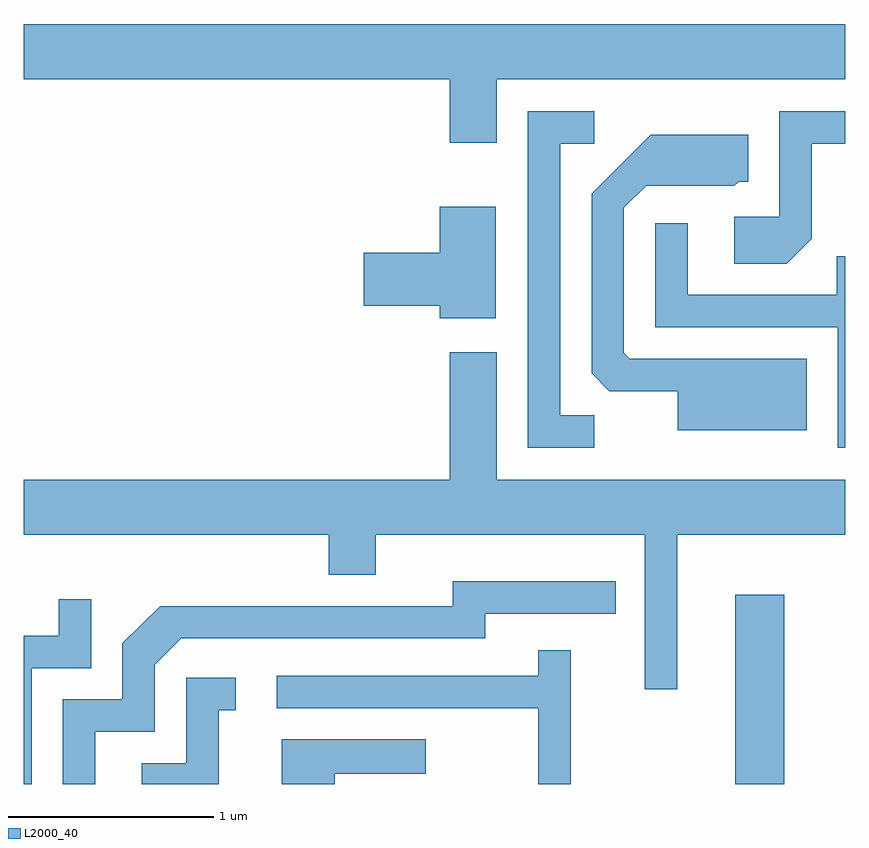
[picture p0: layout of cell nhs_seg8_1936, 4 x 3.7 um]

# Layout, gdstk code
import gdstk
lib = gdstk.Library(unit=1e-6, precision=1e-09)
def R(c, l, rs):  # rectangles x0, y0, x1, y1
    for r in rs: c.add(gdstk.rectangle(r[:2], r[2:], *l))
def P(c, l, *ps):  # polygons
    for p in ps: c.add(gdstk.Polygon(p, *l))
L2000_40 = (2000, 40)

nhs_seg8_1936 = lib.new_cell('nhs_seg8_1936')
R(nhs_seg8_1936, L2000_40, [(247.076,1806.342,247.314,1807.264)])
P(nhs_seg8_1936, L2000_40, [(245.914,1809.776),(247.611,1809.776),(247.611,1810.044),(243.611,1810.044),(243.611,1809.776),(245.686,1809.776),(245.686,1809.466),(245.914,1809.466)],
  [(247.449,1808.999),(247.449,1809.461),(247.611,1809.461),(247.611,1809.619),(247.291,1809.619),(247.291,1809.104),(247.071,1809.104),(247.071,1808.876),(247.327,1808.876)],
  [(246.388,1808.139),(246.224,1808.139),(246.224,1809.461),(246.388,1809.461),(246.388,1809.619),(246.066,1809.619),(246.066,1807.981),(246.388,1807.981)],
  [(247.424,1808.414),(246.562,1808.414),(246.534,1808.442),(246.534,1809.149),(246.642,1809.256),(247.072,1809.256),(247.092,1809.276),(247.139,1809.276),(247.139,1809.504),(246.664,1809.504),(246.376,1809.217),(246.376,1808.342),(246.462,1808.256),(246.796,1808.256),(246.796,1808.066),(247.424,1808.066)],
  [(245.909,1809.154),(245.636,1809.154),(245.636,1808.929),(245.266,1808.929),(245.266,1808.671),(245.636,1808.671),(245.636,1808.611),(245.909,1808.611)],
  [(247.611,1808.913),(247.571,1808.913),(247.571,1808.724),(246.844,1808.724),(246.844,1809.073),(246.686,1809.073),(246.686,1808.566),(247.576,1808.566),(247.576,1807.981),(247.611,1807.981)],
  [(246.794,1807.556),(247.611,1807.556),(247.611,1807.824),(245.914,1807.824),(245.914,1808.444),(245.686,1808.444),(245.686,1807.824),(243.611,1807.824),(243.611,1807.556),(245.096,1807.556),(245.096,1807.361),(245.324,1807.361),(245.324,1807.556),(246.636,1807.556),(246.636,1806.803),(246.794,1806.803)],
  [(243.959,1806.596),(244.249,1806.596),(244.249,1806.924),(244.377,1807.051),(245.859,1807.051),(245.859,1807.171),(246.493,1807.171),(246.493,1807.329),(245.701,1807.329),(245.701,1807.209),(244.274,1807.209),(244.091,1807.027),(244.091,1806.754),(243.801,1806.754),(243.801,1806.342),(243.959,1806.342)],
  [(243.649,1806.906),(243.939,1806.906),(243.939,1807.243),(243.781,1807.243),(243.781,1807.064),(243.611,1807.064),(243.611,1806.342),(243.649,1806.342)],
  [(246.274,1806.993),(246.116,1806.993),(246.116,1806.869),(244.843,1806.869),(244.843,1806.711),(246.116,1806.711),(246.116,1806.342),(246.274,1806.342)],
  [(244.559,1806.701),(244.643,1806.701),(244.643,1806.859),(244.401,1806.859),(244.401,1806.444),(244.186,1806.444),(244.186,1806.342),(244.559,1806.342)],
  [(245.124,1806.391),(245.568,1806.391),(245.568,1806.559),(244.866,1806.559),(244.866,1806.342),(245.124,1806.342)])

lib.write_gds('nhs_seg8_1936.gds')
